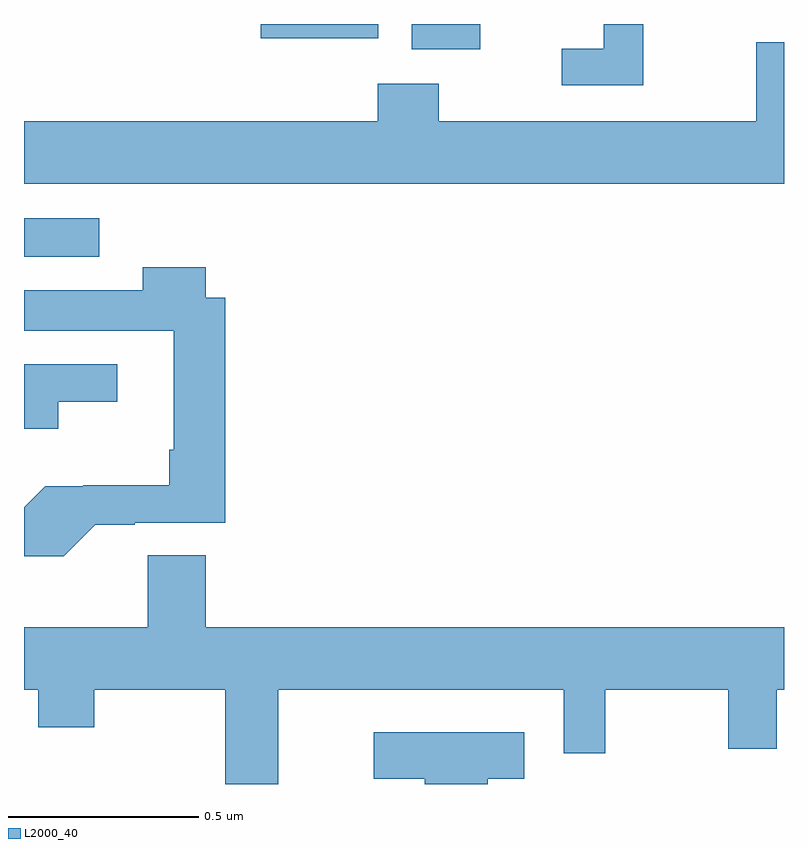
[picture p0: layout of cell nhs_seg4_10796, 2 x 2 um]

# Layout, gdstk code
import gdstk
lib = gdstk.Library(unit=1e-6, precision=1e-09)
def R(c, l, rs):  # rectangles x0, y0, x1, y1
    for r in rs: c.add(gdstk.rectangle(r[:2], r[2:], *l))
def P(c, l, *ps):  # polygons
    for p in ps: c.add(gdstk.Polygon(p, *l))
L2000_40 = (2000, 40)

nhs_seg4_10796 = lib.new_cell('nhs_seg4_10796')
R(nhs_seg4_10796, L2000_40, [(244,803.288,244.198,803.389), (245.021,803.834,245.2,803.9), (244.623,803.863,244.932,803.9)])
P(nhs_seg4_10796, L2000_40, [(245.629,803.9),(245.525,803.9),(245.525,803.835),(245.415,803.835),(245.415,803.739),(245.629,803.739)],
  [(246,803.852),(245.927,803.852),(245.927,803.644),(245.091,803.644),(245.091,803.743),(244.931,803.743),(244.931,803.644),(244,803.644),(244,803.48),(246,803.48)],
  [(244.187,802.582),(244.291,802.582),(244.291,802.587),(244.529,802.587),(244.529,803.179),(244.478,803.179),(244.478,803.26),(244.313,803.26),(244.313,803.2),(244,803.2),(244,803.093),(244.394,803.093),(244.394,802.78),(244.382,802.78),(244.382,802.686),(244.156,802.686),(244.156,802.684),(244.056,802.684),(244,802.628),(244,802.5),(244.004,802.5),(244.004,802.499),(244.104,802.499)],
  [(244.09,802.906),(244.246,802.906),(244.246,803.004),(244,803.004),(244,802.835),(244.09,802.835)],
  [(244.478,802.502),(244.325,802.502),(244.325,802.312),(244,802.312),(244,802.148),(244.037,802.148),(244.037,802.049),(244.185,802.049),(244.185,802.148),(244.529,802.148),(244.529,801.9),(244.669,801.9),(244.669,802.148),(245.421,802.148),(245.421,801.981),(245.53,801.981),(245.53,802.148),(245.853,802.148),(245.853,801.993),(245.981,801.993),(245.981,802.148),(246,802.148),(246,802.312),(244.478,802.312)],
  [(245.221,801.914),(245.317,801.914),(245.317,802.036),(244.92,802.036),(244.92,801.914),(245.055,801.914),(245.055,801.9),(245.221,801.9)])

lib.write_gds('nhs_seg4_10796.gds')
